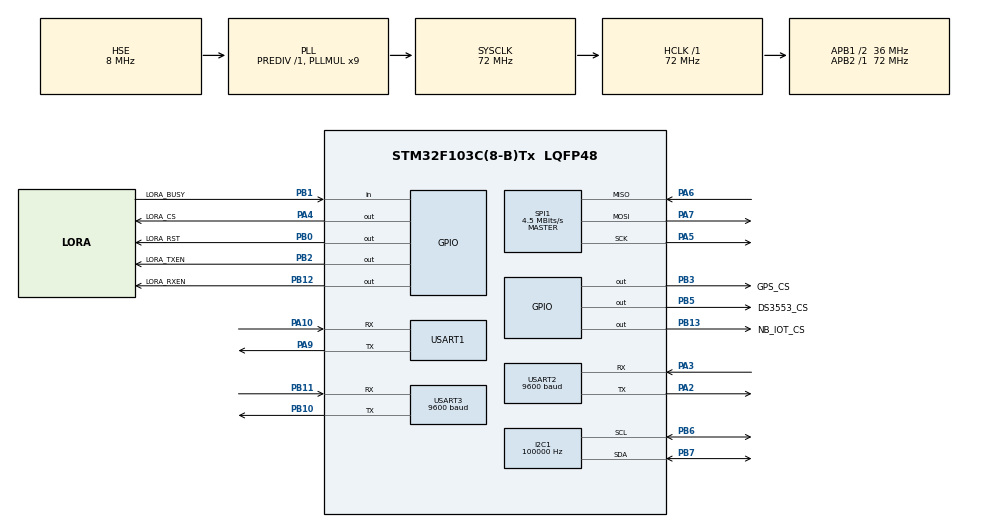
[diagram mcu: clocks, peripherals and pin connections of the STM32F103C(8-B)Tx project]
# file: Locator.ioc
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I2C1.ClockSpeed=100000
I2C1.I2C_Mode=I2C_Standard
I2C1.NoStretchMode=I2C_NOSTRETCH_DISABLE
Mcu.Family=STM32F1
Mcu.Name=STM32F103C(8-B)Tx
Mcu.Package=LQFP48
NVIC.PriorityGroup=NVIC_PRIORITYGROUP_4
NVIC.USART2_IRQn=true\:3\:0\:true\:false\:true\:true\:true\:true
NVIC.USART3_IRQn=true\:3\:0\:true\:false\:true\:true\:true\:true
PA10.Mode=Asynchronous
PA10.Signal=USART1_RX
PA13.Mode=Serial_Wire
PA13.Signal=SYS_JTMS-SWDIO
PA14.Mode=Serial_Wire
PA14.Signal=SYS_JTCK-SWCLK
PA2.Mode=Asynchronous
PA2.Signal=USART2_TX
PA3.Mode=Asynchronous
PA3.Signal=USART2_RX
PA4.GPIO_Label=LORA_CS
PA4.GPIO_Speed=GPIO_SPEED_FREQ_HIGH
PA4.PinState=GPIO_PIN_SET
PA4.Signal=GPIO_Output
PA5.Mode=Full_Duplex_Master
PA5.Signal=SPI1_SCK
PA6.Mode=Full_Duplex_Master
PA6.Signal=SPI1_MISO
PA7.Mode=Full_Duplex_Master
PA7.Signal=SPI1_MOSI
PA9.Mode=Asynchronous
PA9.Signal=USART1_TX
PB0.GPIO_Label=LORA_RST
PB0.GPIO_Speed=GPIO_SPEED_FREQ_HIGH
PB0.PinState=GPIO_PIN_SET
PB0.Signal=GPIO_Output
PB1.GPIO_Label=LORA_BUSY
PB1.GPIO_Mode=GPIO_MODE_INPUT
PB1.GPIO_PuPd=GPIO_NOPULL
PB1.Signal=GPIO_Input
PB10.Mode=Asynchronous
PB10.Signal=USART3_TX
PB11.Mode=Asynchronous
PB11.Signal=USART3_RX
PB12.GPIO_Label=LORA_RXEN
PB12.GPIO_Speed=GPIO_SPEED_FREQ_HIGH
PB12.Signal=GPIO_Output
PB13.GPIO_Label=NB_IOT_CS
PB13.GPIO_Speed=GPIO_SPEED_FREQ_HIGH
PB13.Signal=GPIO_Output
PB2.GPIO_Label=LORA_TXEN
PB2.GPIO_Speed=GPIO_SPEED_FREQ_HIGH
PB2.Signal=GPIO_Output
PB3.GPIO_Label=GPS_CS
PB3.GPIO_Speed=GPIO_SPEED_FREQ_HIGH
PB3.Signal=GPIO_Output
PB5.GPIO_Label=DS3553_CS
PB5.GPIO_Speed=GPIO_SPEED_FREQ_HIGH
PB5.PinState=GPIO_PIN_SET
PB5.Signal=GPIO_Output
PB6.Mode=I2C
PB6.Signal=I2C1_SCL
PB7.Mode=I2C
PB7.Signal=I2C1_SDA
PC14-OSC32_IN.Mode=LSE-External-Oscillator
PC14-OSC32_IN.Signal=RCC_OSC32_IN
PC15-OSC32_OUT.Mode=LSE-External-Oscillator
PC15-OSC32_OUT.Signal=RCC_OSC32_OUT
PD0-OSC_IN.Mode=HSE-External-Oscillator
PD0-OSC_IN.Signal=RCC_OSC_IN
PD1-OSC_OUT.Mode=HSE-External-Oscillator
PD1-OSC_OUT.Signal=RCC_OSC_OUT
ProjectManager.HeapSize=0x400
ProjectManager.StackSize=0x400
ProjectManager.TargetToolchain=MDK-ARM V5.32
RCC.AHBFreq_Value=72000000
RCC.APB1CLKDivider=RCC_HCLK_DIV2
RCC.APB1Freq_Value=36000000
RCC.APB1TimFreq_Value=72000000
RCC.APB2Freq_Value=72000000
RCC.APB2TimFreq_Value=72000000
RCC.HCLKFreq_Value=72000000
RCC.PLLMUL=RCC_PLL_MUL9
RCC.PLLSourceVirtual=RCC_PLLSOURCE_HSE
RCC.RTCClockSelection=RCC_RTCCLKSOURCE_LSE
RCC.SYSCLKFreq_VALUE=72000000
RCC.SYSCLKSource=RCC_SYSCLKSOURCE_PLLCLK
RCC.USBFreq_Value=72000000
SPI1.BaudRatePrescaler=SPI_BAUDRATEPRESCALER_16
SPI1.CalculateBaudRate=4.5 MBits/s
SPI1.Direction=SPI_DIRECTION_2LINES
SPI1.Mode=SPI_MODE_MASTER
SPI1.VirtualType=VM_MASTER
USART1.VirtualMode=VM_ASYNC
USART2.BaudRate=9600
USART2.VirtualMode=VM_ASYNC
USART3.BaudRate=9600
USART3.VirtualMode=VM_ASYNC
VP_RTC_VS_RTC_Activate.Mode=RTC_Enabled
board=custom

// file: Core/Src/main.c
/* USER CODE BEGIN Header */
/**
 ******************************************************************************
 * @file           : main.c
 * @brief          : Main program body
 ******************************************************************************
 * @attention
 *
 * Copyright (c) 2026 STMicroelectronics.
 * All rights reserved.
 *
 * This software is licensed under terms that can be found in the LICENSE file
 * in the root directory of this software component.
 * If no LICENSE file comes with this software, it is provided AS-IS.
 *
 ******************************************************************************
 */
/* USER CODE END Header */
#include "main.h"
#include "i2c.h"
#include "rtc.h"
#include "spi.h"
#include "usart.h"
#include "gpio.h"

/* USER CODE BEGIN Includes */
#include "int_DS3553.h"
#include "int_GPS.h"
#include "com_debug.h"
#include "int_QS100.h"
#include "app_communication.h"
#include "int_LoRa.h"
/* USER CODE END Includes */

void SystemClock_Config(void);

/* USER CODE BEGIN 0 */
uint8_t GPS_Data[1024] = {0};
uint16_t GPS_Data_Size = 1024;
uint8_t *ip = "8.135.10.183";
uint16_t port = 36697;
// TCP发送的数据（"helloworld"的十六进制表示）
uint8_t tcp_data[1024] = "hello world"; // "helloworld" in hex
/* USER CODE END 0 */

int main(void)
{

  /* MCU Configuration--------------------------------------------------------*/

  /* Reset of all peripherals, Initializes the Flash interface and the Systick. */
  HAL_Init();

  /* Configure the system clock */
  SystemClock_Config();

  /* Initialize all configured peripherals */
  MX_GPIO_Init();
  MX_RTC_Init();
  MX_USART1_UART_Init();
  MX_I2C1_Init();
  MX_USART2_UART_Init();
  MX_USART3_UART_Init();
  MX_SPI1_Init();
  /* USER CODE BEGIN 2 */
  int_DS3553_Reg_Init();
  // uint8_t id = 0;
  // int_DS3553_ReadChipId(&id);
  // printf("id = %2X\r\n",id);
  // uint32_t cnt;
  // 初始化GPS
  // int_GPS_Init();
  // 初始化QS100
  // int_qs100_init();
  // 初始化LoRa
  int_LoRa_init();
  // int_qs100_clientTcp(ip, port, tcp_data, strlen((char *)tcp_data));
  app_communication_init();
  app_communication_send(ip, port);
  /* USER CODE END 2 */

  /* Infinite loop */
  /* USER CODE BEGIN WHILE */
  while (1)
  {
    // cnt = int_DS3553_getStep();
    // printf("cnt = %d\r\n",cnt);
    // HAL_Delay(1000);
    // int_GPS_ReadData(GPS_Data, &GPS_Data_Size);
    // if (GPS_Data_Size > 0)
    // {
    //   debug_printfln("data: \r\n%.*s", GPS_Data_Size, GPS_Data);
    // }
    /* USER CODE END WHILE */

  }
}

void SystemClock_Config(void)
{
  RCC_OscInitTypeDef RCC_OscInitStruct = {0};
  RCC_ClkInitTypeDef RCC_ClkInitStruct = {0};
  RCC_PeriphCLKInitTypeDef PeriphClkInit = {0};

  /** Initializes the RCC Oscillators according to the specified parameters
   * in the RCC_OscInitTypeDef structure.
   */
  RCC_OscInitStruct.OscillatorType = RCC_OSCILLATORTYPE_HSE | RCC_OSCILLATORTYPE_LSE;
  RCC_OscInitStruct.HSEState = RCC_HSE_ON;
  RCC_OscInitStruct.HSEPredivValue = RCC_HSE_PREDIV_DIV1;
  RCC_OscInitStruct.LSEState = RCC_LSE_ON;
  RCC_OscInitStruct.HSIState = RCC_HSI_ON;
  RCC_OscInitStruct.PLL.PLLState = RCC_PLL_ON;
  RCC_OscInitStruct.PLL.PLLSource = RCC_PLLSOURCE_HSE;
  RCC_OscInitStruct.PLL.PLLMUL = RCC_PLL_MUL9;
  if (HAL_RCC_OscConfig(&RCC_OscInitStruct) != HAL_OK)
  {
    Error_Handler();
  }

  /** Initializes the CPU, AHB and APB buses clocks
   */
  RCC_ClkInitStruct.ClockType = RCC_CLOCKTYPE_HCLK | RCC_CLOCKTYPE_SYSCLK | RCC_CLOCKTYPE_PCLK1 | RCC_CLOCKTYPE_PCLK2;
  RCC_ClkInitStruct.SYSCLKSource = RCC_SYSCLKSOURCE_PLLCLK;
  RCC_ClkInitStruct.AHBCLKDivider = RCC_SYSCLK_DIV1;
  RCC_ClkInitStruct.APB1CLKDivider = RCC_HCLK_DIV2;
  RCC_ClkInitStruct.APB2CLKDivider = RCC_HCLK_DIV1;

  if (HAL_RCC_ClockConfig(&RCC_ClkInitStruct, FLASH_LATENCY_2) != HAL_OK)
  {
    Error_Handler();
  }
  PeriphClkInit.PeriphClockSelection = RCC_PERIPHCLK_RTC;
  PeriphClkInit.RTCClockSelection = RCC_RTCCLKSOURCE_LSE;
  if (HAL_RCCEx_PeriphCLKConfig(&PeriphClkInit) != HAL_OK)
  {
    Error_Handler();
  }
}

void Error_Handler(void)
{
  __disable_irq();
  while (1)
  {
  }
}
